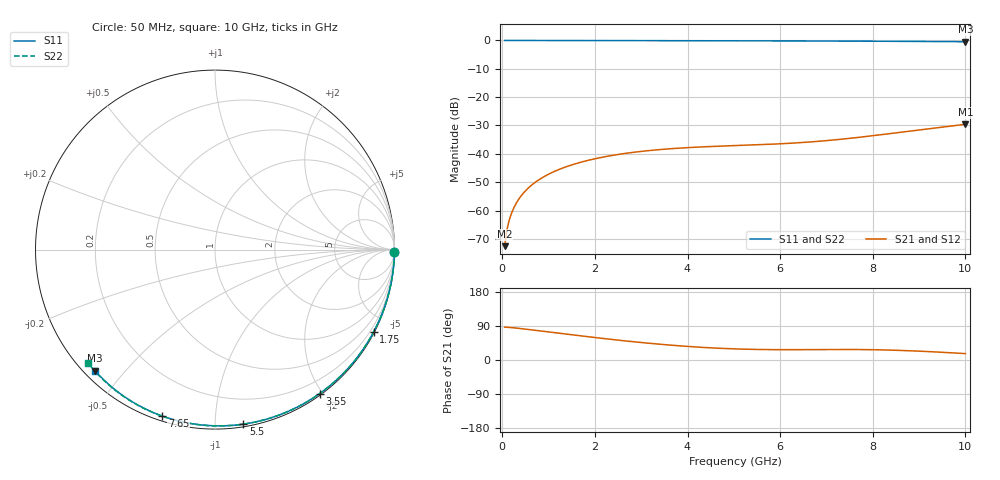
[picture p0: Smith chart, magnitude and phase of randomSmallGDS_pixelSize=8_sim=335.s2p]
! freq	dB(S11)	phase(S11)	dB(S12)	phase(S12)
!  dB(S21)	phase(S21)	dB(S22)	phase(S22)
!S-par simulation data
#  GHz  S  DB  R 50
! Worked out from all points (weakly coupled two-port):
!   200 points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, 50 MHz to 10 GHz, reference 50 ohm
!   highest |S21| = -29.57 dB at 10 GHz (marker M1); lowest = -72.6 dB at 50 MHz (marker M2)
!   lowest |S11| = -0.4 dB at 10 GHz (marker M3), VSWR 38.96, Z = 1.51 - j20.9 ohm
!   |S11| at or under -10 dB: nowhere
!   |S22| runs from -0.5 to 0.0 dB; largest |S21 - S12| = 0
!   S11 on the Smith chart (normalised r, x): 50 MHz: open; 1.75 GHz: 0.04, -4.12; 3.55 GHz: 0.02, -1.96; 5.5 GHz: 0.02, -1.18; 7.65 GHz: 0.02, -0.73; 10 GHz: 0.03, -0.42
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0.05  -0.00 -0.8  -72.57 86.8  -72.57 86.8  -0.00 -0.8
0.1  -0.00 -1.6  -66.79 86.3  -66.79 86.3  -0.00 -1.6
0.15  -0.00 -2.4  -63.36 85.9  -63.36 85.9  -0.00 -2.4
0.2  -0.00 -3.2  -60.91 85.5  -60.91 85.5  -0.00 -3.3
0.25  -0.00 -4.0  -59.00 84.9  -59.00 84.9  -0.00 -4.1
0.35  -0.00 -5.6  -56.11 83.6  -56.11 83.6  -0.00 -5.7
0.5  -0.01 -7.9  -53.04 81.5  -53.04 81.5  -0.01 -8.1
0.7  -0.01 -11.1  -50.17 78.5  -50.17 78.5  -0.01 -11.3
1  -0.02 -15.7  -47.18 74.0  -47.18 74.0  -0.02 -16.1
1.35  -0.03 -21.2  -44.73 68.7  -44.73 68.7  -0.03 -21.7
1.75  -0.03 -27.3  -42.72 62.8  -42.72 62.8  -0.04 -28.0
2.5  -0.05 -38.6  -40.22 52.4  -40.22 52.4  -0.05 -39.6
3.4  -0.07 -51.9  -38.49 41.6  -38.49 41.6  -0.07 -53.2
3.55  -0.07 -54.0  -38.30 40.0  -38.30 40.0  -0.07 -55.4
4.3  -0.09 -64.6  -37.56 33.5  -37.56 33.5  -0.09 -66.2
5.05  -0.11 -74.8  -37.07 29.2  -37.07 29.2  -0.12 -76.6
5.5  -0.13 -80.7  -36.81 27.8  -36.81 27.8  -0.13 -82.7
6.7  -0.18 -96.0  -35.74 27.5  -35.74 27.5  -0.19 -98.3
7.65  -0.24 -107.5  -34.26 27.7  -34.26 27.7  -0.25 -110.1
8.35  -0.29 -115.8  -32.90 26.2  -32.90 26.2  -0.30 -118.6
9.2  -0.36 -125.6  -31.17 22.2  -31.17 22.2  -0.37 -128.7
10  -0.45 -134.7  -29.57 16.9  -29.57 16.9  -0.46 -138.1
